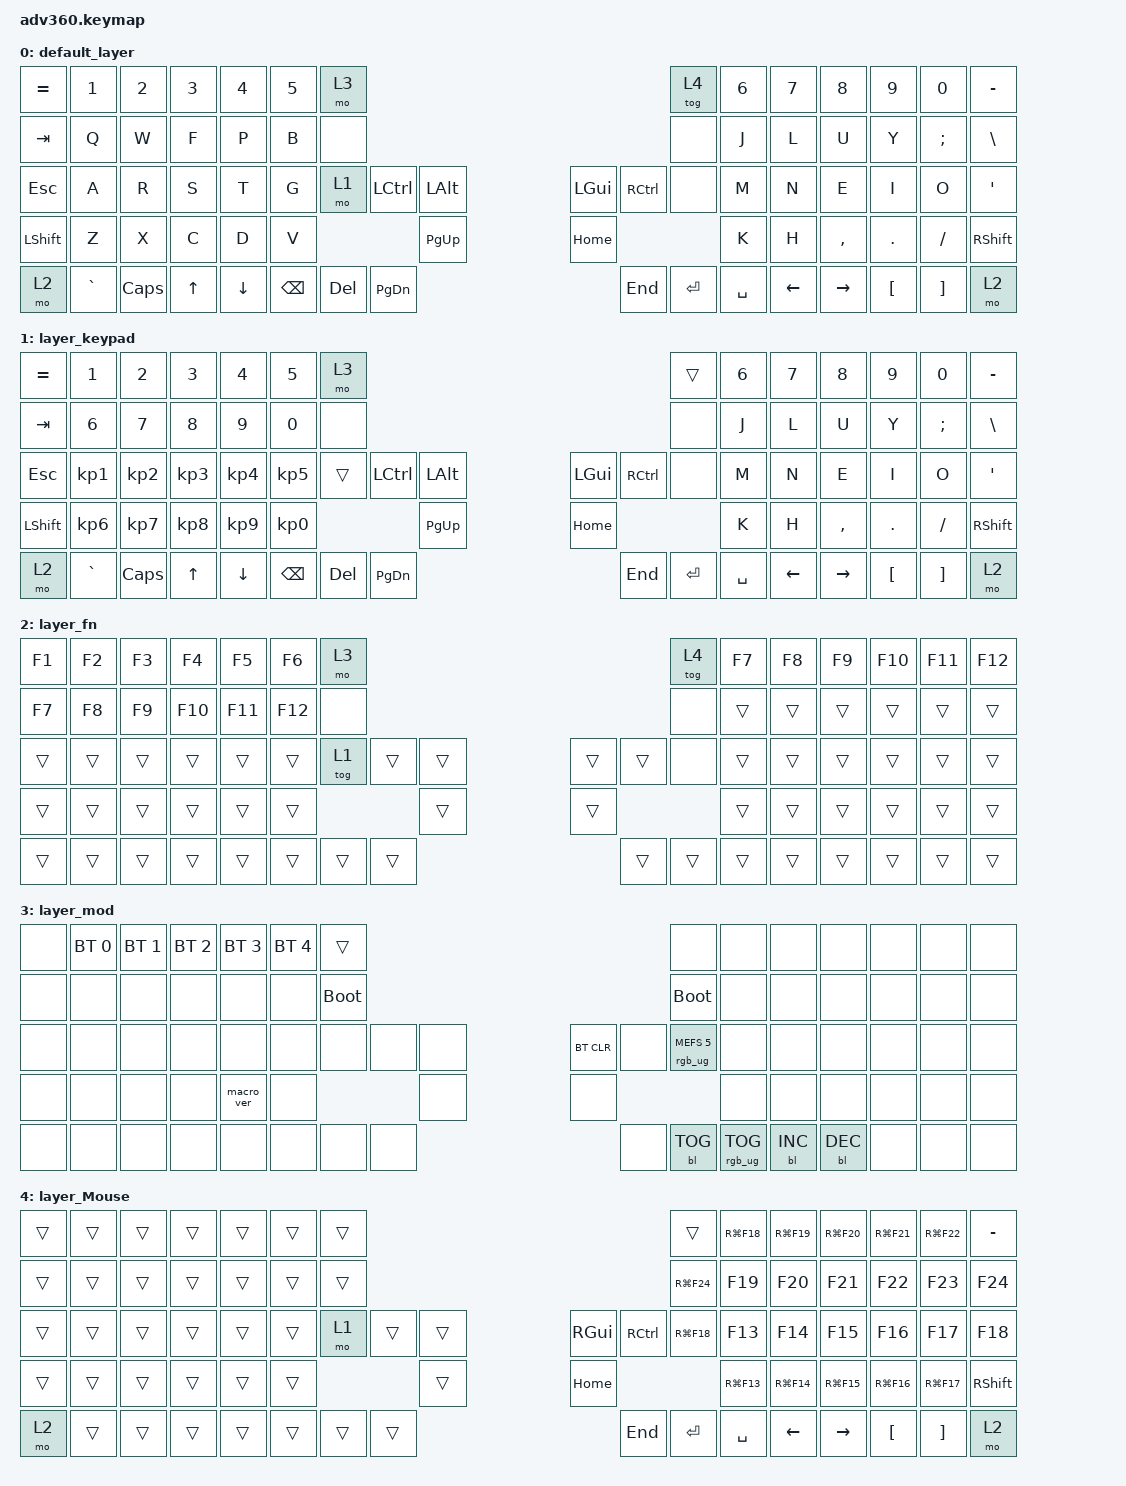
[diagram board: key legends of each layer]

/*
 * Copyright (c) 2020 The ZMK Contributors
 *
 * SPDX-License-Identifier: MIT
 */


/* THIS FILE WAS GENERATED!
 *
 * This file was generated automatically. You may or may not want to
 * edit it directly.
 */

#include <behaviors.dtsi>
#include <dt-bindings/zmk/keys.h>
#include <dt-bindings/zmk/bt.h>
#include <dt-bindings/zmk/rgb.h>
#include <dt-bindings/zmk/backlight.h>

/ {
  behaviors {
    #include "macros.dtsi"
    #include "version.dtsi"

    hm: homerow_mods {
        compatible = "zmk,behavior-hold-tap";
        label = "HOMEROW_MODS";
        #binding-cells = <2>;
        tapping-term-ms = <200>;
        quick_tap_ms = <175>;
        flavor = "tap-preferred";
        bindings = <&kp>, <&kp>;
    };
  };

    keymap {
        compatible = "zmk,keymap";


        default_layer {
            bindings = <
 &kp EQUAL     &kp N1    &kp N2  &kp N3    &kp N4  &kp N5               &mo 3                                                                &tog 4  &kp N6    &kp N7     &kp N8    &kp N9         &kp N0  &kp MINUS
   &kp TAB      &kp Q     &kp W   &kp F     &kp P   &kp B               &none                                                                 &none   &kp J     &kp L      &kp U     &kp Y  &kp SEMICOLON   &kp BSLH
   &kp ESC      &kp A     &kp R   &kp S     &kp T   &kp G               &mo 1  &kp LCTRL   &kp LALT                  &kp LGUI  &kp RCTRL      &none   &kp M     &kp N      &kp E     &kp I          &kp O    &kp SQT
 &kp LSHFT      &kp Z     &kp X   &kp C     &kp D   &kp V                                 &kp PG_UP                  &kp HOME                         &kp K     &kp H  &kp COMMA   &kp DOT       &kp FSLH  &kp RSHFT
     &mo 2  &kp GRAVE  &kp CAPS  &kp UP  &kp DOWN                    &kp BSPC    &kp DEL  &kp PG_DN                   &kp END  &kp ENTER  &kp SPACE          &kp LEFT  &kp RIGHT  &kp LBKT       &kp RBKT      &mo 2
            >;
        };

        layer_keypad {
            bindings = <
 &kp EQUAL     &kp N1     &kp N2     &kp N3     &kp N4     &kp N5               &mo 3                                                                &trans  &kp N6    &kp N7     &kp N8    &kp N9         &kp N0  &kp MINUS
   &kp TAB     &kp N6     &kp N7     &kp N8     &kp N9     &kp N0               &none                                                                 &none   &kp J     &kp L      &kp U     &kp Y  &kp SEMICOLON   &kp BSLH
   &kp ESC  &kp KP_N1  &kp KP_N2  &kp KP_N3  &kp KP_N4  &kp KP_N5              &trans  &kp LCTRL   &kp LALT                  &kp LGUI  &kp RCTRL      &none   &kp M     &kp N      &kp E     &kp I          &kp O    &kp SQT
 &kp LSHFT  &kp KP_N6  &kp KP_N7  &kp KP_N8  &kp KP_N9  &kp KP_N0                                 &kp PG_UP                  &kp HOME                         &kp K     &kp H  &kp COMMA   &kp DOT       &kp FSLH  &kp RSHFT
     &mo 2  &kp GRAVE   &kp CAPS     &kp UP   &kp DOWN                       &kp BSPC    &kp DEL  &kp PG_DN                   &kp END  &kp ENTER  &kp SPACE          &kp LEFT  &kp RIGHT  &kp LBKT       &kp RBKT      &mo 2
            >;
        };

        layer_fn {
            bindings = <
 &kp F1  &kp F2  &kp F3   &kp F4   &kp F5   &kp F6             &mo 3                                                  &tog 4  &kp F7  &kp F8  &kp F9  &kp F10  &kp F11  &kp F12
 &kp F7  &kp F8  &kp F9  &kp F10  &kp F11  &kp F12             &none                                                   &none  &trans  &trans  &trans   &trans   &trans   &trans
 &trans  &trans  &trans   &trans   &trans   &trans            &tog 1  &trans  &trans                  &trans  &trans   &none  &trans  &trans  &trans   &trans   &trans   &trans
 &trans  &trans  &trans   &trans   &trans   &trans                            &trans                  &trans                  &trans  &trans  &trans   &trans   &trans   &trans
 &trans  &trans  &trans   &trans   &trans                     &trans  &trans  &trans                  &trans  &trans  &trans          &trans  &trans   &trans   &trans   &trans
            >;
        };

        layer_mod {
            bindings = <
  &none  &bt BT_SEL 0  &bt BT_SEL 1  &bt BT_SEL 2  &bt BT_SEL 3  &bt BT_SEL 4                 &trans                                                                           &none   &none       &none       &none   &none   &none   &none
  &none         &none         &none         &none         &none         &none            &bootloader                                                                     &bootloader   &none       &none       &none   &none   &none   &none
  &none         &none         &none         &none         &none         &none                  &none   &none   &none                  &bt BT_CLR       &none  &rgb_ug RGB_MEFS_CMD 5   &none       &none       &none   &none   &none   &none
  &none         &none         &none         &none    &macro_ver         &none                                  &none                       &none                                       &none       &none       &none   &none   &none   &none
  &none         &none         &none         &none         &none                                &none   &none   &none                       &none  &bl BL_TOG         &rgb_ug RGB_TOG          &bl BL_INC  &bl BL_DEC   &none   &none   &none
            >;
        };

        layer_Mouse {
            bindings = <
 &trans  &trans  &trans  &trans  &trans  &trans            &trans                                                            &trans  &kp RG(F18)  &kp RG(F19)  &kp RG(F20)  &kp RG(F21)  &kp RG(F22)   &kp MINUS
 &trans  &trans  &trans  &trans  &trans  &trans            &trans                                                       &kp RG(F24)      &kp F19      &kp F20      &kp F21      &kp F22      &kp F23     &kp F24
 &trans  &trans  &trans  &trans  &trans  &trans             &mo 1  &trans  &trans                  &kp RGUI  &kp RCTRL  &kp RG(F18)      &kp F13      &kp F14      &kp F15      &kp F16      &kp F17     &kp F18
 &trans  &trans  &trans  &trans  &trans  &trans                            &trans                  &kp HOME                          &kp RG(F13)  &kp RG(F14)  &kp RG(F15)  &kp RG(F16)  &kp RG(F17)  &kp RSHIFT
  &mo 2  &trans  &trans  &trans  &trans                    &trans  &trans  &trans                   &kp END  &kp ENTER    &kp SPACE                  &kp LEFT    &kp RIGHT     &kp LBKT     &kp RBKT       &mo 2
            >;
        };

    };
};
